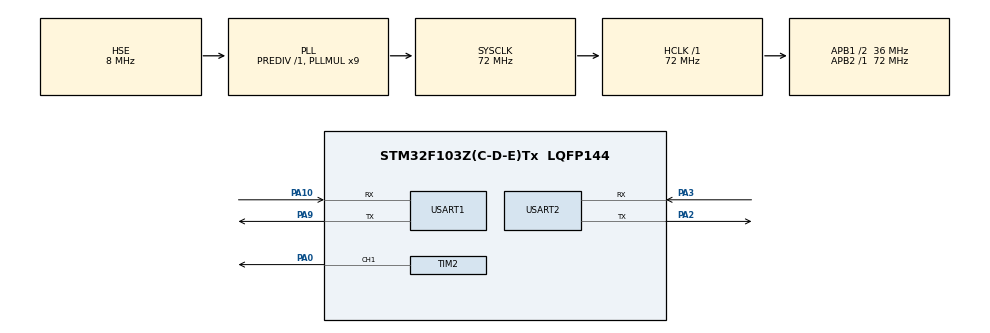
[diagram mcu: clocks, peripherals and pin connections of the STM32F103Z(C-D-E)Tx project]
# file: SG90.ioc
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Mcu.Family=STM32F1
Mcu.Name=STM32F103Z(C-D-E)Tx
Mcu.Package=LQFP144
NVIC.PriorityGroup=NVIC_PRIORITYGROUP_4
OSC_IN.Mode=HSE-External-Oscillator
OSC_IN.Signal=RCC_OSC_IN
OSC_OUT.Mode=HSE-External-Oscillator
OSC_OUT.Signal=RCC_OSC_OUT
PA0-WKUP.Signal=S_TIM2_CH1_ETR
PA10.Mode=Asynchronous
PA10.Signal=USART1_RX
PA13.Mode=Serial_Wire
PA13.Signal=SYS_JTMS-SWDIO
PA14.Mode=Serial_Wire
PA14.Signal=SYS_JTCK-SWCLK
PA2.Mode=Asynchronous
PA2.Signal=USART2_TX
PA3.Mode=Asynchronous
PA3.Signal=USART2_RX
PA9.Mode=Asynchronous
PA9.Signal=USART1_TX
ProjectManager.HeapSize=0x200
ProjectManager.StackSize=0x400
ProjectManager.TargetToolchain=MDK-ARM V5
RCC.AHBFreq_Value=72000000
RCC.APB1CLKDivider=RCC_HCLK_DIV2
RCC.APB1Freq_Value=36000000
RCC.APB1TimFreq_Value=72000000
RCC.APB2Freq_Value=72000000
RCC.APB2TimFreq_Value=72000000
RCC.HCLKFreq_Value=72000000
RCC.PLLMUL=RCC_PLL_MUL9
RCC.PLLSourceVirtual=RCC_PLLSOURCE_HSE
RCC.SYSCLKFreq_VALUE=72000000
RCC.SYSCLKSource=RCC_SYSCLKSOURCE_PLLCLK
RCC.USBFreq_Value=72000000
SH.S_TIM2_CH1_ETR.0=TIM2_CH1,PWM Generation1 CH1
TIM2.AutoReloadPreload=TIM_AUTORELOAD_PRELOAD_ENABLE
TIM2.Channel-PWM\ Generation1\ CH1=TIM_CHANNEL_1
TIM2.OCPolarity_1=TIM_OCPOLARITY_HIGH
TIM2.Period=1999
TIM2.Prescaler=719
TIM2.Pulse-PWM\ Generation1\ CH1=150
USART1.VirtualMode=VM_ASYNC
USART2.VirtualMode=VM_ASYNC
VP_TIM2_VS_ClockSourceINT.Mode=Internal
board=custom

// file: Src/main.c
/* USER CODE BEGIN Header */
/**
  ******************************************************************************
  * @file           : main.c
  * @brief          : Main program body
  ******************************************************************************
  ** This notice applies to any and all portions of this file
  * that are not between comment pairs USER CODE BEGIN and
  * USER CODE END. Other portions of this file, whether
  * inserted by the user or by software development tools
  * are owned by their respective copyright owners.
  *
  * COPYRIGHT(c) 2020 STMicroelectronics
  *
  * Redistribution and use in source and binary forms, with or without modification,
  * are permitted provided that the following conditions are met:
  *   1. Redistributions of source code must retain the above copyright notice,
  *      this list of conditions and the following disclaimer.
  *   2. Redistributions in binary form must reproduce the above copyright notice,
  *      this list of conditions and the following disclaimer in the documentation
  *      and/or other materials provided with the distribution.
  *   3. Neither the name of STMicroelectronics nor the names of its contributors
  *      may be used to endorse or promote products derived from this software
  *      without specific prior written permission.
  *
  * THIS SOFTWARE IS PROVIDED BY THE COPYRIGHT HOLDERS AND CONTRIBUTORS "AS IS"
  * AND ANY EXPRESS OR IMPLIED WARRANTIES, INCLUDING, BUT NOT LIMITED TO, THE
  * IMPLIED WARRANTIES OF MERCHANTABILITY AND FITNESS FOR A PARTICULAR PURPOSE ARE
  * DISCLAIMED. IN NO EVENT SHALL THE COPYRIGHT HOLDER OR CONTRIBUTORS BE LIABLE
  * FOR ANY DIRECT, INDIRECT, INCIDENTAL, SPECIAL, EXEMPLARY, OR CONSEQUENTIAL
  * DAMAGES (INCLUDING, BUT NOT LIMITED TO, PROCUREMENT OF SUBSTITUTE GOODS OR
  * SERVICES; LOSS OF USE, DATA, OR PROFITS; OR BUSINESS INTERRUPTION) HOWEVER
  * CAUSED AND ON ANY THEORY OF LIABILITY, WHETHER IN CONTRACT, STRICT LIABILITY,
  * OR TORT (INCLUDING NEGLIGENCE OR OTHERWISE) ARISING IN ANY WAY OUT OF THE USE
  * OF THIS SOFTWARE, EVEN IF ADVISED OF THE POSSIBILITY OF SUCH DAMAGE.
  *
  ******************************************************************************
  */
/* USER CODE END Header */

#include "main.h"
#include "tim.h"
#include "usart.h"
#include "gpio.h"

void SystemClock_Config(void);

/* USER CODE BEGIN 0 */
int fputc(int ch,FILE *p)
{
	while(!(USART1->SR & (1<<7)));

	USART1->DR = ch;

	return ch;
}
/* USER CODE END 0 */

int main(void)
{

  /* MCU Configuration--------------------------------------------------------*/

  /* Reset of all peripherals, Initializes the Flash interface and the Systick. */
  HAL_Init();

  /* Configure the system clock */
  SystemClock_Config();

  /* Initialize all configured peripherals */
  MX_GPIO_Init();
  MX_USART1_UART_Init();
  MX_USART2_UART_Init();
  MX_TIM2_Init();
  /* USER CODE BEGIN 2 */
	HAL_TIM_PWM_Start(&htim2,TIM_CHANNEL_1);
  /* USER CODE END 2 */

  /* Infinite loop */
  while (1)
  {

    /* USER CODE BEGIN 3 */
		 __HAL_TIM_SET_COMPARE(&htim2,TIM_CHANNEL_1,50);
    HAL_Delay(1000);

		 __HAL_TIM_SET_COMPARE(&htim2,TIM_CHANNEL_1,100);
    HAL_Delay(1000);

    __HAL_TIM_SET_COMPARE(&htim2,TIM_CHANNEL_1,150);
    HAL_Delay(1000);

		__HAL_TIM_SET_COMPARE(&htim2,TIM_CHANNEL_1,200);
    HAL_Delay(1000);

    __HAL_TIM_SET_COMPARE(&htim2,TIM_CHANNEL_1,250);
    HAL_Delay(1000);
  }
  /* USER CODE END 3 */
}

void SystemClock_Config(void)
{
  RCC_OscInitTypeDef RCC_OscInitStruct = {0};
  RCC_ClkInitTypeDef RCC_ClkInitStruct = {0};

  /**Initializes the CPU, AHB and APB busses clocks
  */
  RCC_OscInitStruct.OscillatorType = RCC_OSCILLATORTYPE_HSE;
  RCC_OscInitStruct.HSEState = RCC_HSE_ON;
  RCC_OscInitStruct.HSEPredivValue = RCC_HSE_PREDIV_DIV1;
  RCC_OscInitStruct.HSIState = RCC_HSI_ON;
  RCC_OscInitStruct.PLL.PLLState = RCC_PLL_ON;
  RCC_OscInitStruct.PLL.PLLSource = RCC_PLLSOURCE_HSE;
  RCC_OscInitStruct.PLL.PLLMUL = RCC_PLL_MUL9;
  if (HAL_RCC_OscConfig(&RCC_OscInitStruct) != HAL_OK)
  {
    Error_Handler();
  }
  /**Initializes the CPU, AHB and APB busses clocks
  */
  RCC_ClkInitStruct.ClockType = RCC_CLOCKTYPE_HCLK|RCC_CLOCKTYPE_SYSCLK
                              |RCC_CLOCKTYPE_PCLK1|RCC_CLOCKTYPE_PCLK2;
  RCC_ClkInitStruct.SYSCLKSource = RCC_SYSCLKSOURCE_PLLCLK;
  RCC_ClkInitStruct.AHBCLKDivider = RCC_SYSCLK_DIV1;
  RCC_ClkInitStruct.APB1CLKDivider = RCC_HCLK_DIV2;
  RCC_ClkInitStruct.APB2CLKDivider = RCC_HCLK_DIV1;

  if (HAL_RCC_ClockConfig(&RCC_ClkInitStruct, FLASH_LATENCY_2) != HAL_OK)
  {
    Error_Handler();
  }
}

void Error_Handler(void)
{
}

/************************ (C) COPYRIGHT STMicroelectronics *****END OF FILE****/
